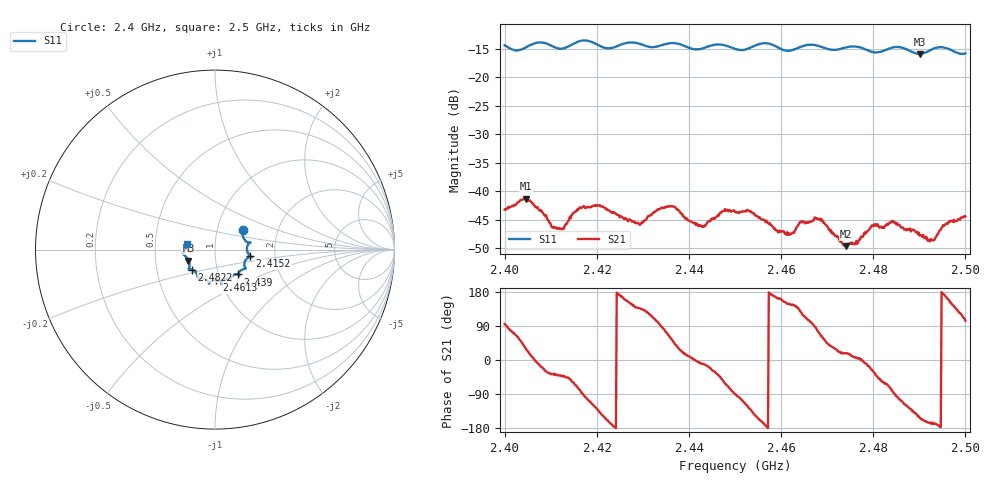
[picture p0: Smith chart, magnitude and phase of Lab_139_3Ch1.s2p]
# Hz S RI R 50
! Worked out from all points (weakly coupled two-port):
!   601 points, 2.4 GHz to 2.5 GHz, reference 50 ohm
!   highest |S21| = -41.31 dB at 2.4047 GHz (marker M1); lowest = -49.6 dB at 2.474 GHz (marker M2)
!   lowest |S11| = -15.9 dB at 2.4902 GHz (marker M3), VSWR 1.38, Z = 36.9 - j4.6 ohm
!   |S11| at or under -10 dB: start of sweep to end of sweep
!   S12 and S22 are empty: the file has one direction only
!   S11 on the Smith chart (normalised r, x): 2.4 GHz: 1.33, +0.30; 2.4152 GHz: 1.48, -0.11; 2.439 GHz: 1.24, -0.35; 2.4613 GHz: 0.96, -0.34; 2.4822 GHz: 0.76, -0.17; 2.5 GHz: 0.73, +0.05
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2.4e9  0.1549 0.1104  -0.00061 0.00688  0 0  0 0
2.404667e9  0.1783 0.042  0.00756 0.0041  0 0  0 0
2.410833e9  0.182 0.0235  0.00386 -0.00279  0 0  0 0
2.412667e9  0.1786 -0.00418  0.00346 -0.00321  0 0  0 0
2.415167e9  0.1954 -0.0364  0.00292 -0.00584  0 0  0 0
2.416667e9  0.205 -0.0424  0.000404 -0.00711  0 0  0 0
2.420833e9  0.1805 -0.0476  -0.0057 -0.0047  0 0  0 0
2.429167e9  0.1663 -0.1063  -0.0038 0.00354  0 0  0 0
2.433333e9  0.1318 -0.1328  -0.00105 0.00681  0 0  0 0
2.4365e9  0.1346 -0.1471  0.00469 0.00566  0 0  0 0
2.439e9  0.1276 -0.1384  0.0056 0.00179  0 0  0 0
2.443e9  0.0909 -0.1542  0.00481 -0.000874  0 0  0 0
2.45e9  0.0684 -0.1636  6.15e-05 -0.00658  0 0  0 0
2.461333e9  0.00752 -0.1703  -0.00372 0.00231  0 0  0 0
2.466667e9  -0.0332 -0.19  -0.000736 0.00538  0 0  0 0
2.468667e9  -0.0344 -0.1818  0.00257 0.00516  0 0  0 0
2.474e9  -0.0862 -0.1605  0.00314 0.00102  0 0  0 0
2.482167e9  -0.1281 -0.1119  0.00259 -0.00413  0 0  0 0
2.483333e9  -0.1395 -0.1103  0.00184 -0.0048  0 0  0 0
2.490167e9  -0.1481 -0.0608  -0.00371 -0.00181  0 0  0 0
2.492833e9  -0.1736 -0.0284  -0.00363 -0.000927  0 0  0 0
2.5e9  -0.158 0.034  -0.00146 0.00584  0 0  0 0
